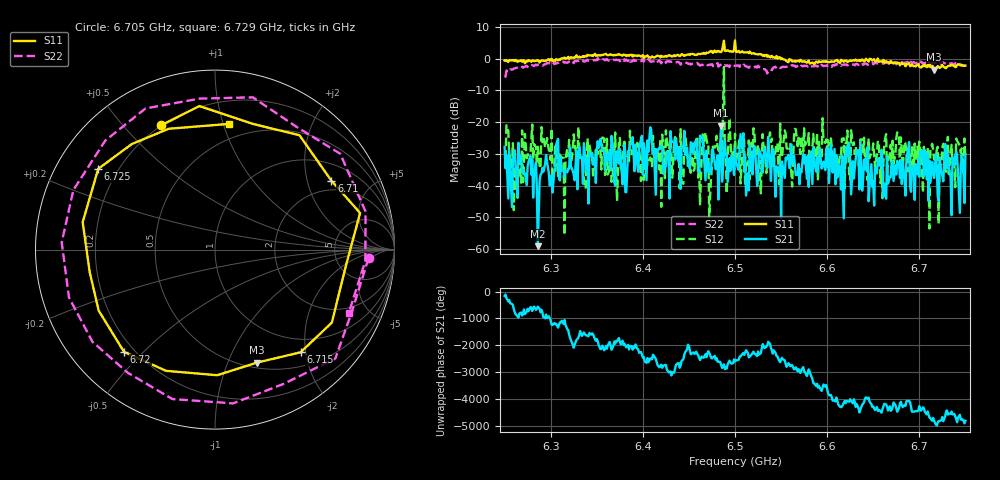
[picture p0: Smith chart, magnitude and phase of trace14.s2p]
# Hz S RI R 50
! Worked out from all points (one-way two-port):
!   401 points, 6.25 GHz to 6.75 GHz, reference 50 ohm
!   highest |S21| = -21.11 dB at 6.485 GHz (marker M1); lowest = -59.1 dB at 6.286 GHz (marker M2)
!   lowest |S11| = -3.5 dB at 6.716 GHz (marker M3), VSWR 5.09, Z = 27.9 - j63.9 ohm
!   |S11| at or under -10 dB: nowhere
!   |S22| runs from -5.9 to 0.1 dB; largest |S21 - S12| = 0.74
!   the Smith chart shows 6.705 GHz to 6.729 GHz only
!   S11 on the Smith chart (normalised r, x): 6.705 GHz: 0.20, +0.64; 6.71 GHz: 1.59, +2.83; 6.715 GHz: 0.74, -1.90; 6.72 GHz: 0.16, -0.44; 6.725 GHz: 0.13, +0.31; 6.729 GHz: 0.38, +1.05
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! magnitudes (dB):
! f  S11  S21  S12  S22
! 6.25 GHz  -0.6  -27.8  -30.8  -5.9
! 6.262 GHz  -0.4  -34.4  -37.5  -3.0
! 6.286 GHz  -0.5  -59.1  -27.8  -1.9
! 6.334 GHz  0.6  -31.1  -31.6  -0.5
! 6.38 GHz  1.1  -27.2  -26.2  -0.2
! 6.386 GHz  1.2  -27.1  -22.7  -1.0
! 6.418 GHz  0.7  -28.0  -34.9  -0.6
! 6.462 GHz  1.4  -24.3  -46.3  -2.2
! 6.468 GHz  1.5  -38.4  -23.2  -2.1
! 6.475 GHz  2.3  -29.0  -34.1  -1.8
! 6.485 GHz  2.1  -21.1  -21.1  -2.4
! 6.5 GHz  5.7  -28.3  -23.7  -2.3
! 6.584 GHz  -1.2  -39.5  -27.6  -2.4
! 6.668 GHz  -1.4  -37.2  -30.1  -1.8
! 6.705 GHz  -2.4  -36.9  -27.8  -1.3
! 6.71 GHz  -2.5  -44.8  -32.9  -1.3
! 6.715 GHz  -2.6  -36.0  -29.0  -1.3
! 6.716 GHz  -3.5  -37.6  -31.8  -1.4
! 6.72 GHz  -2.4  -43.4  -27.8  -1.1
! 6.725 GHz  -2.0  -36.8  -28.0  -1.1
! 6.729 GHz  -3.0  -28.4  -35.7  -1.7
! 6.75 GHz  -2.2  -30.2  -31.4  -2.2
